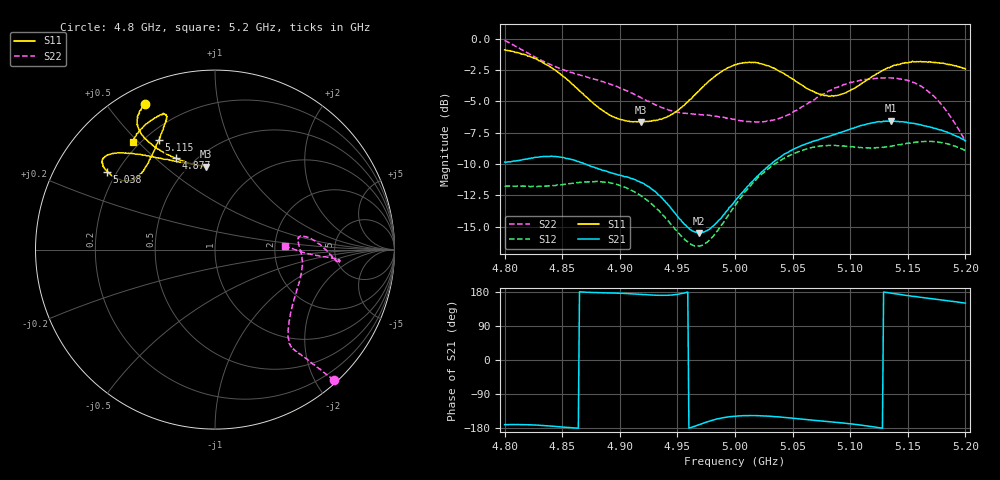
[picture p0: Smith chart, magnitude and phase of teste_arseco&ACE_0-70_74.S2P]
! Network Analyzer HP8722D
! Hewlett-Packard
! Data name: Linha & Wilkinson
! Saver's name: Rodrigo Anjos
! Comments: Teste da utilização de aquisição
! continua pelo VNA HP8722D
! Time and date: 8/5/2025 13:22
!  Frequency  S11  S21  S12  S22
# HZ  S  MA R 50
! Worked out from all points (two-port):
!   401 points, 4.8 GHz to 5.2 GHz, reference 50 ohm
!   highest |S21| = -6.55 dB at 5.135 GHz (marker M1); lowest = -15.5 dB at 4.969 GHz (marker M2)
!   |S21| within 3 dB of the highest: 4.822 GHz to 4.854 GHz (31.42 MHz wide, 0.649 % of centre); 5.038 GHz to end of sweep
!   lowest |S11| = -6.7 dB at 4.918 GHz (marker M3), VSWR 2.74, Z = 29.8 + j35.2 ohm
!   |S11| at or under -10 dB: nowhere
!   |S22| runs from -8.2 to -0.2 dB; largest |S21 - S12| = 0.83
!   S11 on the Smith chart (normalised r, x): 4.8 GHz: 0.07, +0.63; 4.877 GHz: 0.40, +0.59; 5.038 GHz: 0.16, +0.31; 5.115 GHz: 0.25, +0.58; 5.2 GHz: 0.17, +0.48
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4.8e9  0.9008 115.8  0.3221 -170.7  0.2579 -86.1  0.9828 -47.6
4.833e9  0.8029 122.1  0.3386 -172.9  0.2574 -77.4  0.8137 -49.7
4.848e9  0.7254 122.1  0.3373 -176.3  0.261 -72.4  0.7592 -50.7
4.867e9  0.6074 117.6  0.3203 179.5  0.2673 -67.6  0.713 -51.6
4.877e9  0.5527 112.9  0.3079 178.0  0.2688 -66.6  0.6909 -51.9
4.901e9  0.4759 100.4  0.2848 176.1  0.2587 -67.1  0.6336 -50.0
4.918e9  0.4649 96.1  0.2673 173.2  0.2369 -69.1  0.5831 -45.0
4.934e9  0.4754 99.5  0.2373 170.7  0.2064 -69.7  0.5361 -37.1
4.958e9  0.555 116.3  0.1787 178.5  0.1562 -59.3  0.503 -21.4
4.969e9  0.6206 123.8  0.1676 -170.6  0.149 -46.9  0.4984 -15.0
4.981e9  0.6978 130.1  0.179 -158.6  0.1629 -33.4  0.4911 -8.5
5e9  0.7858 137.2  0.2254 -148.3  0.2162 -21.5  0.4751 -0.2
5.018e9  0.8027 141.4  0.2783 -146.8  0.273 -18.6  0.4651 5.8
5.038e9  0.7431 144.3  0.3345 -150.2  0.3249 -18.9  0.4799 8.8
5.067e9  0.6196 141.7  0.3888 -158.6  0.3688 -21.1  0.5653 4.3
5.088e9  0.5925 132.9  0.4179 -164.6  0.3745 -24.2  0.6382 -2.1
5.115e9  0.6851 117.2  0.4575 -174.2  0.3668 -27.1  0.6888 -5.8
5.134e9  0.7645 110.8  0.468 177.1  0.3707 -29.2  0.6972 -5.2
5.135e9  0.772 110.8  0.4704 176.7  0.3722 -29.3  0.6974 -5.1
5.163e9  0.808 112.8  0.4506 164.7  0.3888 -36.2  0.6388 -3.9
5.181e9  0.7966 119.2  0.4283 157.9  0.3838 -41.9  0.534 -2.8
5.2e9  0.757 127.3  0.3912 150.1  0.3586 -47.0  0.3903 3.1
